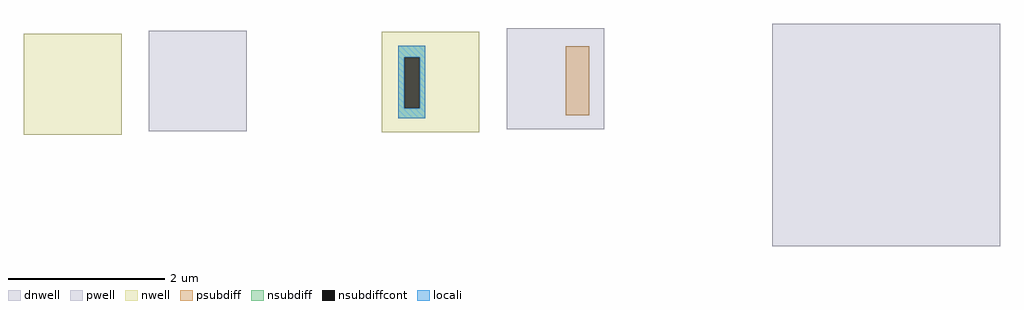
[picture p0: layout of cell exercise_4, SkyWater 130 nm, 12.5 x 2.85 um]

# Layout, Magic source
magic
tech sky130A
<< dnwell >>
rect 820 -364 1112 -79
<< nwell >>
rect -138 -221 -13 -92
rect 320 -218 445 -89
<< pwell >>
rect 22 -217 147 -88
rect 480 -214 605 -85
<< psubdiff >>
rect 556 -196 586 -108
<< nsubdiff >>
rect 341 -122 376 -107
rect 341 -187 349 -122
rect 369 -187 376 -122
rect 341 -200 376 -187
<< nsubdiffcont >>
rect 349 -187 369 -122
<< locali >>
rect 341 -122 376 -107
rect 341 -187 349 -122
rect 369 -187 376 -122
rect 341 -200 376 -187
<< labels >>
flabel space -14 4 -14 4 0 FreeSans 160 0 0 0 Exercise_4a
flabel space -13 -34 -13 -34 0 FreeSans 160 0 0 0 Wells
flabel space 463 -8 463 -8 0 FreeSans 160 0 0 0 Exercise_4b
flabel space 460 -42 460 -42 0 FreeSans 160 0 0 0 Wells
flabel space 968 34 968 34 0 FreeSans 160 0 0 0 Exercise_4c
flabel space 961 -4 961 -4 0 FreeSans 160 0 0 0 Deep_NWell
<< end >>
